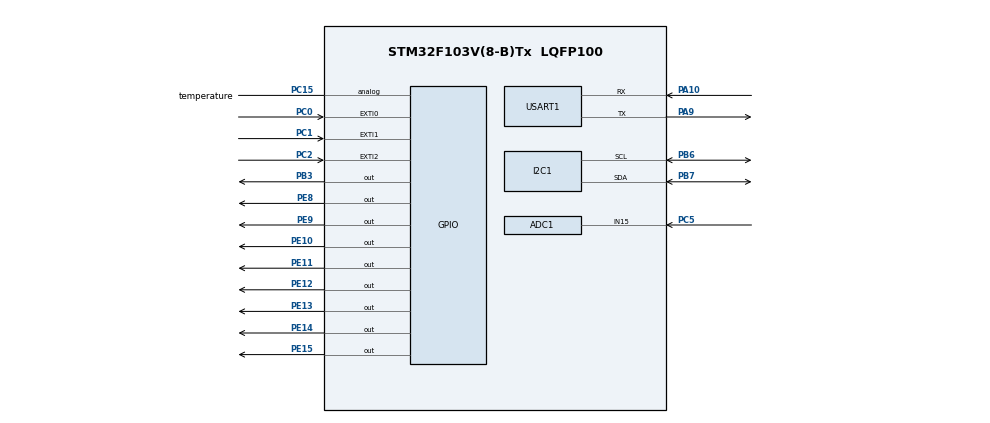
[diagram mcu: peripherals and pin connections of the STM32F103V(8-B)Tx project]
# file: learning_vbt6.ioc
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ADC1.Channel-2\#ChannelRegularConversion=ADC_CHANNEL_15
ADC1.NbrOfConversionFlag=1
ADC1.Rank-2\#ChannelRegularConversion=1
ADC1.SamplingTime-2\#ChannelRegularConversion=ADC_SAMPLETIME_1CYCLE_5
ADC1.master=1
Dma.Request0=USART1_RX
Dma.Request1=USART1_TX
Dma.USART1_RX.0.Direction=DMA_PERIPH_TO_MEMORY
Dma.USART1_RX.0.Instance=DMA1_Channel5
Dma.USART1_RX.0.MemDataAlignment=DMA_MDATAALIGN_BYTE
Dma.USART1_RX.0.MemInc=DMA_MINC_ENABLE
Dma.USART1_RX.0.Mode=DMA_NORMAL
Dma.USART1_RX.0.PeriphDataAlignment=DMA_PDATAALIGN_BYTE
Dma.USART1_RX.0.PeriphInc=DMA_PINC_DISABLE
Dma.USART1_RX.0.Priority=DMA_PRIORITY_LOW
Dma.USART1_TX.1.Direction=DMA_MEMORY_TO_PERIPH
Dma.USART1_TX.1.Instance=DMA1_Channel4
Dma.USART1_TX.1.MemDataAlignment=DMA_MDATAALIGN_BYTE
Dma.USART1_TX.1.MemInc=DMA_MINC_ENABLE
Dma.USART1_TX.1.Mode=DMA_NORMAL
Dma.USART1_TX.1.PeriphDataAlignment=DMA_PDATAALIGN_BYTE
Dma.USART1_TX.1.PeriphInc=DMA_PINC_DISABLE
Dma.USART1_TX.1.Priority=DMA_PRIORITY_LOW
Mcu.Family=STM32F1
Mcu.Name=STM32F103V(8-B)Tx
Mcu.Package=LQFP100
NVIC.ADC1_2_IRQn=true\:0\:0\:false\:false\:true\:true\:true\:true
NVIC.DMA1_Channel4_IRQn=true\:1\:0\:true\:false\:true\:false\:true\:true
NVIC.DMA1_Channel5_IRQn=true\:2\:0\:true\:false\:true\:false\:true\:true
NVIC.EXTI0_IRQn=true\:15\:0\:true\:false\:true\:true\:true\:true
NVIC.EXTI1_IRQn=true\:15\:0\:true\:false\:true\:true\:true\:true
NVIC.EXTI2_IRQn=true\:15\:0\:true\:false\:true\:true\:true\:true
NVIC.I2C1_ER_IRQn=true\:0\:0\:false\:false\:true\:true\:true\:true
NVIC.I2C1_EV_IRQn=true\:0\:0\:false\:false\:true\:true\:true\:true
NVIC.PriorityGroup=NVIC_PRIORITYGROUP_4
NVIC.TIM3_IRQn=true\:5\:0\:true\:false\:true\:true\:true\:true
NVIC.USART1_IRQn=true\:0\:0\:false\:false\:true\:true\:true\:true
PA10.Mode=Asynchronous
PA10.Signal=USART1_RX
PA13.Mode=Serial_Wire
PA13.Signal=SYS_JTMS-SWDIO
PA14.Mode=Serial_Wire
PA14.Signal=SYS_JTCK-SWCLK
PA9.Mode=Asynchronous
PA9.Signal=USART1_TX
PB3.Signal=GPIO_Output
PB6.Mode=I2C
PB6.Signal=I2C1_SCL
PB7.Mode=I2C
PB7.Signal=I2C1_SDA
PC0.Signal=GPXTI0
PC1.Signal=GPXTI1
PC15-OSC32_OUT.GPIO_Label=temperature
PC15-OSC32_OUT.Signal=GPIO_Analog
PC2.Signal=GPXTI2
PC5.Signal=ADCx_IN15
PE10.Signal=GPIO_Output
PE11.Signal=GPIO_Output
PE12.Signal=GPIO_Output
PE13.Signal=GPIO_Output
PE14.Signal=GPIO_Output
PE15.Signal=GPIO_Output
PE8.Signal=GPIO_Output
PE9.Signal=GPIO_Output
ProjectManager.HeapSize=0x200
ProjectManager.StackSize=0x400
ProjectManager.TargetToolchain=STM32CubeIDE
RCC.AHBFreq_Value=8000000
RCC.APB1Freq_Value=8000000
RCC.APB1TimFreq_Value=8000000
RCC.APB2Freq_Value=8000000
RCC.APB2TimFreq_Value=8000000
RCC.HCLKFreq_Value=8000000
SH.ADCx_IN15.0=ADC1_IN15,IN15
TIM3.AutoReloadPreload=TIM_AUTORELOAD_PRELOAD_ENABLE
TIM3.Period=10000
USART1.VirtualMode=VM_ASYNC
VP_TIM3_VS_ClockSourceINT.Mode=Internal
board=custom

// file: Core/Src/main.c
/* USER CODE BEGIN Header */
/**
  ******************************************************************************
  * @file           : main.c
  * @brief          : Main program body
  ******************************************************************************
  * @attention
  *
  * Copyright (c) 2022 STMicroelectronics.
  * All rights reserved.
  *
  * This software is licensed under terms that can be found in the LICENSE file
  * in the root directory of this software component.
  * If no LICENSE file comes with this software, it is provided AS-IS.
  *
  ******************************************************************************
  */
/* USER CODE END Header */
#include "main.h"

/* USER CODE BEGIN Includes */
#include "myAPI.h"

#define ADDR_EEPROM_Write 0xA0
#define ADDR_EEPROM_Read 0xA1
/* USER CODE END Includes */

ADC_HandleTypeDef hadc1;

I2C_HandleTypeDef hi2c1;

TIM_HandleTypeDef htim3;

UART_HandleTypeDef huart1;
DMA_HandleTypeDef hdma_usart1_rx;
DMA_HandleTypeDef hdma_usart1_tx;

/* USER CODE BEGIN PV */
//uint8_t tx_buffer[]="This is transmit by DMA\n";
uint8_t rx_buffer[400]={0};
int threshold=23;
uint8_t i2c_tx_buffer[]={'h','e','l','l','o','\0'};
uint8_t i2c_rx_buffer[8];
float temp;
/* USER CODE END PV */

void SystemClock_Config(void);
static void MX_GPIO_Init(void);
static void MX_DMA_Init(void);
static void MX_USART1_UART_Init(void);
static void MX_TIM3_Init(void);
static void MX_I2C1_Init(void);
static void MX_ADC1_Init(void);
/* USER CODE BEGIN PFP */
void HAL_UART_RxCpltCallback(UART_HandleTypeDef *UartHandle)
{
    if(UartHandle == &huart1){
        /*接收数据完成*/
        if(HAL_UART_Receive_DMA(&huart1,rx_buffer,100)==HAL_OK){
            uint8_t s[]="have sent 100 words";
            HAL_UART_Transmit_DMA(&huart1,s,sizeof s);
        }
    }
}

void HAL_TIM_PeriodElapsedCallback(TIM_HandleTypeDef *htim)
{
    if (htim == (&htim3))
    {

        buzz_it((int)temp,threshold,0,0);
        if((int)temp>threshold)
            lsd_it();
        else
            digital_tube_display_string_IT();
    }
}

/* USER CODE END PFP */

int main(void)
{

  /* MCU Configuration--------------------------------------------------------*/

  /* Reset of all peripherals, Initializes the Flash interface and the Systick. */
  HAL_Init();

  /* Configure the system clock */
  SystemClock_Config();

  /* Initialize all configured peripherals */
  MX_GPIO_Init();
  MX_DMA_Init();
  MX_USART1_UART_Init();
  MX_TIM3_Init();
  MX_I2C1_Init();
  MX_ADC1_Init();
  /* USER CODE BEGIN 2 */
    smg_init();
    buzz_init();
    HAL_TIM_Base_Start_IT(&htim3);
    HAL_UART_Receive_IT(&huart1,rx_buffer,100);
    HAL_UART_Receive_DMA(&huart1,rx_buffer,100);
  /* USER CODE END 2 */
    HAL_UART_Transmit(&huart1,"write iic: \n",sizeof "write iic: \n",0xff);
    HAL_UART_Transmit(&huart1,i2c_tx_buffer,sizeof i2c_tx_buffer,0xff);
    HAL_UART_Transmit(&huart1,"\n",sizeof "\n",0xff);
    HAL_I2C_Mem_Write(&hi2c1,ADDR_EEPROM_Write,0,I2C_MEMADD_SIZE_8BIT,i2c_tx_buffer,sizeof i2c_tx_buffer,0xff);
//    HAL_I2C_Master_Receive();
//    HAL_I2C_Mem_Read();
//    HAL_I2C_Mem_Write();
//    HAL_I2C_Master_Transmit();

  /* Infinite loop */
  /* USER CODE BEGIN WHILE */
    while (1)
    {
        HAL_Delay(2000);
        HAL_I2C_Mem_Read(&hi2c1,ADDR_EEPROM_Write,0,I2C_MEMADD_SIZE_8BIT,i2c_rx_buffer,sizeof i2c_tx_buffer,0xff);
        HAL_UART_Transmit(&huart1,"read iic: \n",sizeof "read iic: \n",0xff);
        HAL_UART_Transmit(&huart1,i2c_rx_buffer,sizeof i2c_tx_buffer,0xff);
        /*
     * USER CODE END WHILE */

    }
}

void SystemClock_Config(void)
{
  RCC_OscInitTypeDef RCC_OscInitStruct = {0};
  RCC_ClkInitTypeDef RCC_ClkInitStruct = {0};
  RCC_PeriphCLKInitTypeDef PeriphClkInit = {0};

  /** Initializes the RCC Oscillators according to the specified parameters
  * in the RCC_OscInitTypeDef structure.
  */
  RCC_OscInitStruct.OscillatorType = RCC_OSCILLATORTYPE_HSI;
  RCC_OscInitStruct.HSIState = RCC_HSI_ON;
  RCC_OscInitStruct.HSICalibrationValue = RCC_HSICALIBRATION_DEFAULT;
  RCC_OscInitStruct.PLL.PLLState = RCC_PLL_NONE;
  if (HAL_RCC_OscConfig(&RCC_OscInitStruct) != HAL_OK)
  {
    Error_Handler();
  }

  /** Initializes the CPU, AHB and APB buses clocks
  */
  RCC_ClkInitStruct.ClockType = RCC_CLOCKTYPE_HCLK|RCC_CLOCKTYPE_SYSCLK
                              |RCC_CLOCKTYPE_PCLK1|RCC_CLOCKTYPE_PCLK2;
  RCC_ClkInitStruct.SYSCLKSource = RCC_SYSCLKSOURCE_HSI;
  RCC_ClkInitStruct.AHBCLKDivider = RCC_SYSCLK_DIV1;
  RCC_ClkInitStruct.APB1CLKDivider = RCC_HCLK_DIV1;
  RCC_ClkInitStruct.APB2CLKDivider = RCC_HCLK_DIV1;

  if (HAL_RCC_ClockConfig(&RCC_ClkInitStruct, FLASH_LATENCY_0) != HAL_OK)
  {
    Error_Handler();
  }
  PeriphClkInit.PeriphClockSelection = RCC_PERIPHCLK_ADC;
  PeriphClkInit.AdcClockSelection = RCC_ADCPCLK2_DIV2;
  if (HAL_RCCEx_PeriphCLKConfig(&PeriphClkInit) != HAL_OK)
  {
    Error_Handler();
  }
}

static void MX_ADC1_Init(void)
{

  ADC_ChannelConfTypeDef sConfig = {0};

  /** Common config
  */
  hadc1.Instance = ADC1;
  hadc1.Init.ScanConvMode = ADC_SCAN_DISABLE;
  hadc1.Init.ContinuousConvMode = DISABLE;
  hadc1.Init.DiscontinuousConvMode = DISABLE;
  hadc1.Init.ExternalTrigConv = ADC_SOFTWARE_START;
  hadc1.Init.DataAlign = ADC_DATAALIGN_RIGHT;
  hadc1.Init.NbrOfConversion = 1;
  if (HAL_ADC_Init(&hadc1) != HAL_OK)
  {
    Error_Handler();
  }

  /** Configure Regular Channel
  */
  sConfig.Channel = ADC_CHANNEL_15;
  sConfig.Rank = ADC_REGULAR_RANK_1;
  sConfig.SamplingTime = ADC_SAMPLETIME_1CYCLE_5;
  if (HAL_ADC_ConfigChannel(&hadc1, &sConfig) != HAL_OK)
  {
    Error_Handler();
  }

}

static void MX_I2C1_Init(void)
{

  hi2c1.Instance = I2C1;
  hi2c1.Init.ClockSpeed = 100000;
  hi2c1.Init.DutyCycle = I2C_DUTYCYCLE_2;
  hi2c1.Init.OwnAddress1 = 0;
  hi2c1.Init.AddressingMode = I2C_ADDRESSINGMODE_7BIT;
  hi2c1.Init.DualAddressMode = I2C_DUALADDRESS_DISABLE;
  hi2c1.Init.OwnAddress2 = 0;
  hi2c1.Init.GeneralCallMode = I2C_GENERALCALL_DISABLE;
  hi2c1.Init.NoStretchMode = I2C_NOSTRETCH_DISABLE;
  if (HAL_I2C_Init(&hi2c1) != HAL_OK)
  {
    Error_Handler();
  }

}

static void MX_TIM3_Init(void)
{

  TIM_ClockConfigTypeDef sClockSourceConfig = {0};
  TIM_MasterConfigTypeDef sMasterConfig = {0};

  htim3.Instance = TIM3;
  htim3.Init.Prescaler = 0;
  htim3.Init.CounterMode = TIM_COUNTERMODE_UP;
  htim3.Init.Period = 7999;
  htim3.Init.ClockDivision = TIM_CLOCKDIVISION_DIV1;
  htim3.Init.AutoReloadPreload = TIM_AUTORELOAD_PRELOAD_ENABLE;
  if (HAL_TIM_Base_Init(&htim3) != HAL_OK)
  {
    Error_Handler();
  }
  sClockSourceConfig.ClockSource = TIM_CLOCKSOURCE_INTERNAL;
  if (HAL_TIM_ConfigClockSource(&htim3, &sClockSourceConfig) != HAL_OK)
  {
    Error_Handler();
  }
  sMasterConfig.MasterOutputTrigger = TIM_TRGO_RESET;
  sMasterConfig.MasterSlaveMode = TIM_MASTERSLAVEMODE_DISABLE;
  if (HAL_TIMEx_MasterConfigSynchronization(&htim3, &sMasterConfig) != HAL_OK)
  {
    Error_Handler();
  }

}

static void MX_USART1_UART_Init(void)
{

  huart1.Instance = USART1;
  huart1.Init.BaudRate = 115200;
  huart1.Init.WordLength = UART_WORDLENGTH_8B;
  huart1.Init.StopBits = UART_STOPBITS_1;
  huart1.Init.Parity = UART_PARITY_NONE;
  huart1.Init.Mode = UART_MODE_TX_RX;
  huart1.Init.HwFlowCtl = UART_HWCONTROL_NONE;
  huart1.Init.OverSampling = UART_OVERSAMPLING_16;
  if (HAL_UART_Init(&huart1) != HAL_OK)
  {
    Error_Handler();
  }

}

static void MX_DMA_Init(void)
{

  /* DMA controller clock enable */
  __HAL_RCC_DMA1_CLK_ENABLE();

  /* DMA interrupt init */
  /* DMA1_Channel4_IRQn interrupt configuration */
  HAL_NVIC_SetPriority(DMA1_Channel4_IRQn, 1, 0);
  HAL_NVIC_EnableIRQ(DMA1_Channel4_IRQn);
  /* DMA1_Channel5_IRQn interrupt configuration */
  HAL_NVIC_SetPriority(DMA1_Channel5_IRQn, 2, 0);
  HAL_NVIC_EnableIRQ(DMA1_Channel5_IRQn);

}

static void MX_GPIO_Init(void)
{
  GPIO_InitTypeDef GPIO_InitStruct = {0};

  /* GPIO Ports Clock Enable */
  __HAL_RCC_GPIOC_CLK_ENABLE();
  __HAL_RCC_GPIOE_CLK_ENABLE();
  __HAL_RCC_GPIOA_CLK_ENABLE();
  __HAL_RCC_GPIOB_CLK_ENABLE();

  /*Configure GPIO pin Output Level */
  HAL_GPIO_WritePin(GPIOE, GPIO_PIN_8|GPIO_PIN_9|GPIO_PIN_10|GPIO_PIN_11
                          |GPIO_PIN_12|GPIO_PIN_13|GPIO_PIN_14|GPIO_PIN_15, GPIO_PIN_RESET);

  /*Configure GPIO pin Output Level */
  HAL_GPIO_WritePin(GPIOB, GPIO_PIN_3, GPIO_PIN_RESET);

  /*Configure GPIO pin : temperature_Pin */
  GPIO_InitStruct.Pin = temperature_Pin;
  GPIO_InitStruct.Mode = GPIO_MODE_ANALOG;
  HAL_GPIO_Init(temperature_GPIO_Port, &GPIO_InitStruct);

  /*Configure GPIO pins : PC0 PC1 PC2 */
  GPIO_InitStruct.Pin = GPIO_PIN_0|GPIO_PIN_1|GPIO_PIN_2;
  GPIO_InitStruct.Mode = GPIO_MODE_IT_RISING;
  GPIO_InitStruct.Pull = GPIO_NOPULL;
  HAL_GPIO_Init(GPIOC, &GPIO_InitStruct);

  /*Configure GPIO pins : PE8 PE9 PE10 PE11
                           PE12 PE13 PE14 PE15 */
  GPIO_InitStruct.Pin = GPIO_PIN_8|GPIO_PIN_9|GPIO_PIN_10|GPIO_PIN_11
                          |GPIO_PIN_12|GPIO_PIN_13|GPIO_PIN_14|GPIO_PIN_15;
  GPIO_InitStruct.Mode = GPIO_MODE_OUTPUT_PP;
  GPIO_InitStruct.Pull = GPIO_NOPULL;
  GPIO_InitStruct.Speed = GPIO_SPEED_FREQ_LOW;
  HAL_GPIO_Init(GPIOE, &GPIO_InitStruct);

  /*Configure GPIO pin : PB3 */
  GPIO_InitStruct.Pin = GPIO_PIN_3;
  GPIO_InitStruct.Mode = GPIO_MODE_OUTPUT_PP;
  GPIO_InitStruct.Pull = GPIO_NOPULL;
  GPIO_InitStruct.Speed = GPIO_SPEED_FREQ_LOW;
  HAL_GPIO_Init(GPIOB, &GPIO_InitStruct);

  /* EXTI interrupt init*/
  HAL_NVIC_SetPriority(EXTI0_IRQn, 15, 0);
  HAL_NVIC_EnableIRQ(EXTI0_IRQn);

  HAL_NVIC_SetPriority(EXTI1_IRQn, 15, 0);
  HAL_NVIC_EnableIRQ(EXTI1_IRQn);

  HAL_NVIC_SetPriority(EXTI2_IRQn, 15, 0);
  HAL_NVIC_EnableIRQ(EXTI2_IRQn);

}

void Error_Handler(void)
{
    __disable_irq();
    while (1)
    {
    }
}
